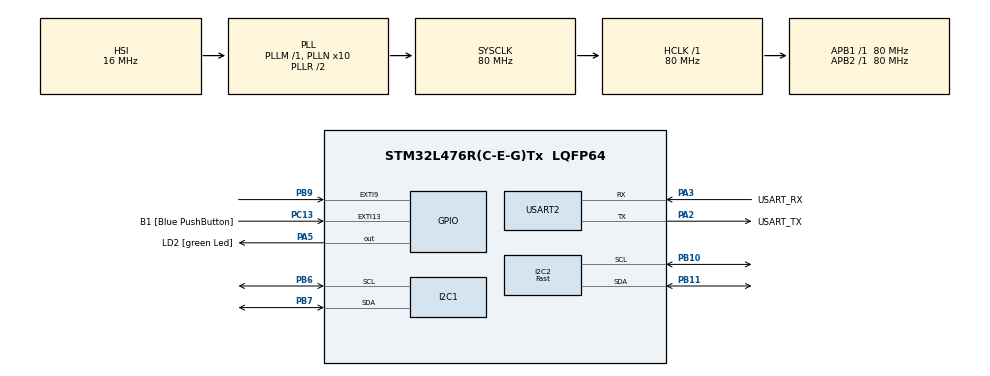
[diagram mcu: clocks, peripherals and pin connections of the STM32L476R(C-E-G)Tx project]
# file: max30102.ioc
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I2C1.Timing=0x10D19CE4
I2C2.I2C_Speed_Mode=I2C_Fast
I2C2.Timing=0x00F12981
Mcu.Family=STM32L4
Mcu.Name=STM32L476R(C-E-G)Tx
Mcu.Package=LQFP64
NVIC.EXTI9_5_IRQn=true\:0\:0\:false\:false\:true\:true\:true\:true
NVIC.I2C2_ER_IRQn=true\:0\:0\:false\:false\:true\:true\:true\:true
NVIC.I2C2_EV_IRQn=true\:0\:0\:false\:false\:true\:true\:true\:true
NVIC.PriorityGroup=NVIC_PRIORITYGROUP_4
NVIC.TIM6_DAC_IRQn=true\:15\:0\:false\:false\:true\:false\:true\:true
NVIC.TimeBase=TIM6_DAC_IRQn
NVIC.TimeBaseIP=TIM6
PA13\ (JTMS-SWDIO).GPIO_Label=TMS
PA13\ (JTMS-SWDIO).Mode=Serial_Wire
PA13\ (JTMS-SWDIO).Signal=SYS_JTMS-SWDIO
PA14\ (JTCK-SWCLK).GPIO_Label=TCK
PA14\ (JTCK-SWCLK).Mode=Serial_Wire
PA14\ (JTCK-SWCLK).Signal=SYS_JTCK-SWCLK
PA2.GPIO_Label=USART_TX
PA2.GPIO_Mode=GPIO_MODE_AF_PP
PA2.GPIO_PuPd=GPIO_NOPULL
PA2.GPIO_Speed=GPIO_SPEED_FREQ_VERY_HIGH
PA2.Mode=Asynchronous
PA2.Signal=USART2_TX
PA3.GPIO_Label=USART_RX
PA3.GPIO_Mode=GPIO_MODE_AF_PP
PA3.GPIO_PuPd=GPIO_NOPULL
PA3.GPIO_Speed=GPIO_SPEED_FREQ_VERY_HIGH
PA3.Mode=Asynchronous
PA3.Signal=USART2_RX
PA5.GPIO_Label=LD2 [green Led]
PA5.GPIO_ModeDefaultOutputPP=GPIO_MODE_OUTPUT_PP
PA5.GPIO_PuPd=GPIO_NOPULL
PA5.GPIO_Speed=GPIO_SPEED_FREQ_LOW
PA5.Signal=GPIO_Output
PB10.GPIO_Pu=GPIO_PULLUP
PB10.Mode=I2C
PB10.Signal=I2C2_SCL
PB11.GPIO_Pu=GPIO_PULLUP
PB11.Mode=I2C
PB11.Signal=I2C2_SDA
PB3\ (JTDO-TRACESWO).GPIO_Label=SWO
PB3\ (JTDO-TRACESWO).Signal=SYS_JTDO-SWO
PB6.Mode=I2C
PB6.Signal=I2C1_SCL
PB7.Mode=I2C
PB7.Signal=I2C1_SDA
PB9.GPIO_ModeDefaultEXTI=GPIO_MODE_IT_FALLING
PB9.GPIO_PuPd=GPIO_PULLUP
PB9.Signal=GPXTI9
PC13.GPIO_Label=B1 [Blue PushButton]
PC13.GPIO_ModeDefaultEXTI=GPIO_MODE_IT_FALLING
PC13.GPIO_PuPd=GPIO_NOPULL
PC13.Signal=GPXTI13
PC14-OSC32_IN\ (PC14).Mode=LSE-External-Oscillator
PC14-OSC32_IN\ (PC14).Signal=RCC_OSC32_IN
PC15-OSC32_OUT\ (PC15).Mode=LSE-External-Oscillator
PC15-OSC32_OUT\ (PC15).Signal=RCC_OSC32_OUT
PH0-OSC_IN\ (PH0).Signal=RCC_OSC_IN
PH1-OSC_OUT\ (PH1).Signal=RCC_OSC_OUT
ProjectManager.HeapSize=0x200
ProjectManager.StackSize=0x400
ProjectManager.TargetToolchain=STM32CubeIDE
RCC.ADCFreq_Value=64000000
RCC.AHBFreq_Value=80000000
RCC.APB1Freq_Value=80000000
RCC.APB1TimFreq_Value=80000000
RCC.APB2Freq_Value=80000000
RCC.APB2TimFreq_Value=80000000
RCC.CortexFreq_Value=80000000
RCC.HCLKFreq_Value=80000000
RCC.HSE_VALUE=8000000
RCC.HSI_VALUE=16000000
RCC.MSI_VALUE=4000000
RCC.PLLN=10
RCC.PLLSourceVirtual=RCC_PLLSOURCE_HSI
RCC.PREFETCH_ENABLE=1
RCC.SYSCLKFreq_VALUE=80000000
RCC.SYSCLKSource=RCC_SYSCLKSOURCE_PLLCLK
RCC.USBFreq_Value=64000000
RCC.VCOOutputFreq_Value=160000000
USART2.VirtualMode-Asynchronous=VM_ASYNC
VP_SYS_VS_tim6.Mode=TIM6
board=NUCLEO-L476RG

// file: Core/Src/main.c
/* USER CODE BEGIN Header */
/**
  ******************************************************************************
  * @file           : main.c
  * @brief          : Main program body
  ******************************************************************************
  * @attention
  *
  * Copyright (c) 2026 STMicroelectronics.
  * All rights reserved.
  *
  * This software is licensed under terms that can be found in the LICENSE file
  * in the root directory of this software component.
  * If no LICENSE file comes with this software, it is provided AS-IS.
  *
  ******************************************************************************
  */
/* USER CODE END Header */
#include "main.h"

/* USER CODE BEGIN Includes */
#include <stdio.h>
#include "max30102.h"
#include "max30102_hw.h"
/* USER CODE END Includes */

I2C_HandleTypeDef hi2c1;
I2C_HandleTypeDef hi2c2;

UART_HandleTypeDef huart2;

/* USER CODE BEGIN PV */
max30102_t max30102;
/* USER CODE END PV */

void SystemClock_Config(void);
static void MX_GPIO_Init(void);
static void MX_I2C1_Init(void);
static void MX_I2C2_Init(void);
static void MX_USART2_UART_Init(void);

int main(void)
{

  /* MCU Configuration--------------------------------------------------------*/

  /* Reset of all peripherals, Initializes the Flash interface and the Systick. */
  HAL_Init();

  /* Configure the system clock */
  SystemClock_Config();

  /* Initialize all configured peripherals */
  MX_GPIO_Init();
  MX_I2C1_Init();
  MX_I2C2_Init();
  MX_USART2_UART_Init();
  /* USER CODE BEGIN 2 */
  max30102_init(&max30102, &hi2c2);
  max30102_reset(&max30102);
  max30102_clear_fifo(&max30102);
  max30102_init_fifo(&max30102, max30102_smp_ave_8, 1, 7);

  max30102_set_led_pulse_width(&max30102, max30102_pw_16_bit);
  max30102_set_adc_resolution(&max30102, max30102_adc_2048);
  max30102_set_sampling_rate(&max30102, max30102_sr_800);
  max30102_set_led_current_1(&max30102, 6.2);

  max30102_set_mode(&max30102, max30102_heart_rate);
  max30102_set_ppg_ready(&max30102, 1);

  /* USER CODE END 2 */

  /* Infinite loop */
  while (1)
  {

    /* USER CODE BEGIN 3 */

	  if (max30102_has_interrupt(&max30102)) {
		  max30102_interrupt_handler(&max30102);
	  }
	  HAL_Delay(1);
	  // 1 ms sampling rate to account for 800 hz ppg sampling

//	  max30102_read_fifo(&max30102);
//	  HAL_GPIO_TogglePin(GPIOA, GPIO_PIN_5);
  }
  /* USER CODE END 3 */
}

void SystemClock_Config(void)
{
  RCC_OscInitTypeDef RCC_OscInitStruct = {0};
  RCC_ClkInitTypeDef RCC_ClkInitStruct = {0};

  /** Configure the main internal regulator output voltage
  */
  if (HAL_PWREx_ControlVoltageScaling(PWR_REGULATOR_VOLTAGE_SCALE1) != HAL_OK)
  {
    Error_Handler();
  }

  /** Initializes the RCC Oscillators according to the specified parameters
  * in the RCC_OscInitTypeDef structure.
  */
  RCC_OscInitStruct.OscillatorType = RCC_OSCILLATORTYPE_HSI;
  RCC_OscInitStruct.HSIState = RCC_HSI_ON;
  RCC_OscInitStruct.HSICalibrationValue = RCC_HSICALIBRATION_DEFAULT;
  RCC_OscInitStruct.PLL.PLLState = RCC_PLL_ON;
  RCC_OscInitStruct.PLL.PLLSource = RCC_PLLSOURCE_HSI;
  RCC_OscInitStruct.PLL.PLLM = 1;
  RCC_OscInitStruct.PLL.PLLN = 10;
  RCC_OscInitStruct.PLL.PLLP = RCC_PLLP_DIV7;
  RCC_OscInitStruct.PLL.PLLQ = RCC_PLLQ_DIV2;
  RCC_OscInitStruct.PLL.PLLR = RCC_PLLR_DIV2;
  if (HAL_RCC_OscConfig(&RCC_OscInitStruct) != HAL_OK)
  {
    Error_Handler();
  }

  /** Initializes the CPU, AHB and APB buses clocks
  */
  RCC_ClkInitStruct.ClockType = RCC_CLOCKTYPE_HCLK|RCC_CLOCKTYPE_SYSCLK
                              |RCC_CLOCKTYPE_PCLK1|RCC_CLOCKTYPE_PCLK2;
  RCC_ClkInitStruct.SYSCLKSource = RCC_SYSCLKSOURCE_PLLCLK;
  RCC_ClkInitStruct.AHBCLKDivider = RCC_SYSCLK_DIV1;
  RCC_ClkInitStruct.APB1CLKDivider = RCC_HCLK_DIV1;
  RCC_ClkInitStruct.APB2CLKDivider = RCC_HCLK_DIV1;

  if (HAL_RCC_ClockConfig(&RCC_ClkInitStruct, FLASH_LATENCY_4) != HAL_OK)
  {
    Error_Handler();
  }
}

static void MX_I2C1_Init(void)
{

  hi2c1.Instance = I2C1;
  hi2c1.Init.Timing = 0x10D19CE4;
  hi2c1.Init.OwnAddress1 = 0;
  hi2c1.Init.AddressingMode = I2C_ADDRESSINGMODE_7BIT;
  hi2c1.Init.DualAddressMode = I2C_DUALADDRESS_DISABLE;
  hi2c1.Init.OwnAddress2 = 0;
  hi2c1.Init.OwnAddress2Masks = I2C_OA2_NOMASK;
  hi2c1.Init.GeneralCallMode = I2C_GENERALCALL_DISABLE;
  hi2c1.Init.NoStretchMode = I2C_NOSTRETCH_DISABLE;
  if (HAL_I2C_Init(&hi2c1) != HAL_OK)
  {
    Error_Handler();
  }

  /** Configure Analogue filter
  */
  if (HAL_I2CEx_ConfigAnalogFilter(&hi2c1, I2C_ANALOGFILTER_ENABLE) != HAL_OK)
  {
    Error_Handler();
  }

  /** Configure Digital filter
  */
  if (HAL_I2CEx_ConfigDigitalFilter(&hi2c1, 0) != HAL_OK)
  {
    Error_Handler();
  }

}

static void MX_I2C2_Init(void)
{

  hi2c2.Instance = I2C2;
  hi2c2.Init.Timing = 0x00F12981;
  hi2c2.Init.OwnAddress1 = 0;
  hi2c2.Init.AddressingMode = I2C_ADDRESSINGMODE_7BIT;
  hi2c2.Init.DualAddressMode = I2C_DUALADDRESS_DISABLE;
  hi2c2.Init.OwnAddress2 = 0;
  hi2c2.Init.OwnAddress2Masks = I2C_OA2_NOMASK;
  hi2c2.Init.GeneralCallMode = I2C_GENERALCALL_DISABLE;
  hi2c2.Init.NoStretchMode = I2C_NOSTRETCH_DISABLE;
  if (HAL_I2C_Init(&hi2c2) != HAL_OK)
  {
    Error_Handler();
  }

  /** Configure Analogue filter
  */
  if (HAL_I2CEx_ConfigAnalogFilter(&hi2c2, I2C_ANALOGFILTER_ENABLE) != HAL_OK)
  {
    Error_Handler();
  }

  /** Configure Digital filter
  */
  if (HAL_I2CEx_ConfigDigitalFilter(&hi2c2, 0) != HAL_OK)
  {
    Error_Handler();
  }

}

static void MX_USART2_UART_Init(void)
{

  huart2.Instance = USART2;
  huart2.Init.BaudRate = 115200;
  huart2.Init.WordLength = UART_WORDLENGTH_8B;
  huart2.Init.StopBits = UART_STOPBITS_1;
  huart2.Init.Parity = UART_PARITY_NONE;
  huart2.Init.Mode = UART_MODE_TX_RX;
  huart2.Init.HwFlowCtl = UART_HWCONTROL_NONE;
  huart2.Init.OverSampling = UART_OVERSAMPLING_16;
  huart2.Init.OneBitSampling = UART_ONE_BIT_SAMPLE_DISABLE;
  huart2.AdvancedInit.AdvFeatureInit = UART_ADVFEATURE_NO_INIT;
  if (HAL_UART_Init(&huart2) != HAL_OK)
  {
    Error_Handler();
  }

}

static void MX_GPIO_Init(void)
{
  GPIO_InitTypeDef GPIO_InitStruct = {0};

  /* GPIO Ports Clock Enable */
  __HAL_RCC_GPIOC_CLK_ENABLE();
  __HAL_RCC_GPIOH_CLK_ENABLE();
  __HAL_RCC_GPIOA_CLK_ENABLE();
  __HAL_RCC_GPIOB_CLK_ENABLE();

  /*Configure GPIO pin Output Level */
  HAL_GPIO_WritePin(LD2_GPIO_Port, LD2_Pin, GPIO_PIN_RESET);

  /*Configure GPIO pin : B1_Pin */
  GPIO_InitStruct.Pin = B1_Pin;
  GPIO_InitStruct.Mode = GPIO_MODE_IT_FALLING;
  GPIO_InitStruct.Pull = GPIO_NOPULL;
  HAL_GPIO_Init(B1_GPIO_Port, &GPIO_InitStruct);

  /*Configure GPIO pin : LD2_Pin */
  GPIO_InitStruct.Pin = LD2_Pin;
  GPIO_InitStruct.Mode = GPIO_MODE_OUTPUT_PP;
  GPIO_InitStruct.Pull = GPIO_NOPULL;
  GPIO_InitStruct.Speed = GPIO_SPEED_FREQ_LOW;
  HAL_GPIO_Init(LD2_GPIO_Port, &GPIO_InitStruct);

  /*Configure GPIO pin : PB9 */
  GPIO_InitStruct.Pin = GPIO_PIN_9;
  GPIO_InitStruct.Mode = GPIO_MODE_IT_FALLING;
  GPIO_InitStruct.Pull = GPIO_PULLUP;
  HAL_GPIO_Init(GPIOB, &GPIO_InitStruct);

  /* EXTI interrupt init*/
  HAL_NVIC_SetPriority(EXTI9_5_IRQn, 0, 0);
  HAL_NVIC_EnableIRQ(EXTI9_5_IRQn);

}

/* USER CODE BEGIN 4 */
int __io_putchar(int ch) {
	HAL_UART_Transmit(&huart2, (uint8_t*) &ch, 1, 0xFFFF);
	return ch;
}

// Override plot function
void max30102_plot(uint32_t ir_sample)
{
     printf("%lu\r\n", ir_sample);  // print IR adc value
}

/* USER CODE END 4 */

void HAL_TIM_PeriodElapsedCallback(TIM_HandleTypeDef *htim)
{
  if (htim->Instance == TIM6)
  {
    HAL_IncTick();
  }
}

void Error_Handler(void)
{
  __disable_irq();
  while (1)
  {
  }
}
